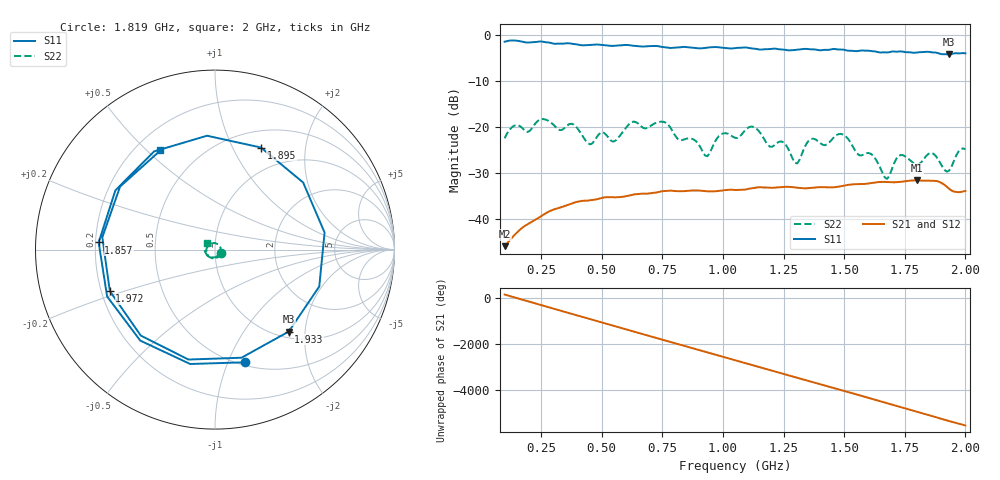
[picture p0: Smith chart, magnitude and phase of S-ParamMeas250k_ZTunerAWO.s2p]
!Keysight Technologies,N5242B,MY48420967,A.15.65.19
!Date: Monday, December 19, 2022 16:01:10
!Correction: S11(C  2-Port  )
!S21(C  2-Port  )
!S12(C  2-Port  )
!S22(C  2-Port  )
!S2P File: Measurements: S11, S21, S12, S22:
# Hz S  dB  R 50
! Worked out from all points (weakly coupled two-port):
!   201 points, 100 MHz to 2 GHz, reference 50 ohm
!   highest |S21| = -31.58 dB at 1.8 GHz (marker M1); lowest = -45.9 dB at 100 MHz (marker M2)
!   lowest |S11| = -4.2 dB at 1.933 GHz (marker M3), VSWR 4.18, Z = 56 - j82.2 ohm
!   |S11| at or under -10 dB: nowhere
!   |S22| runs from -31.3 to -18.3 dB; largest |S21 - S12| = 2.7e-05
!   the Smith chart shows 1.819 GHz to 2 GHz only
!   S11 on the Smith chart (normalised r, x): 1.819 GHz: 0.53, -1.15; 1.857 GHz: 0.21, +0.03; 1.895 GHz: 0.70, +1.30; 1.933 GHz: 1.12, -1.64; 1.972 GHz: 0.23, -0.18; 2 GHz: 0.30, +0.55
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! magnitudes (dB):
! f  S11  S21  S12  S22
! 100 MHz  -1.5  -45.9  -45.9  -22.5
! 252 MHz  -1.4  -39.3  -39.3  -18.3
! 423 MHz  -2.3  -36.0  -36.0  -22.1
! 546.5 MHz  -2.4  -35.3  -35.3  -23.2
! 622.5 MHz  -2.3  -34.8  -34.8  -19.0
! 736.5 MHz  -2.5  -34.1  -34.1  -18.9
! 936 MHz  -2.7  -34.0  -34.0  -26.4
! 993 MHz  -2.8  -33.8  -33.8  -21.6
! 1.05 GHz  -2.9  -33.7  -33.7  -22.4
! 1.126 GHz  -3.0  -33.3  -33.3  -20.0
! 1.306 GHz  -3.2  -33.2  -33.2  -27.9
! 1.373 GHz  -3.1  -33.2  -33.2  -22.5
! 1.496 GHz  -3.2  -32.8  -32.8  -21.7
! 1.687 GHz  -3.7  -32.0  -32.0  -30.6
! 1.734 GHz  -3.6  -31.9  -31.9  -26.1
! 1.8 GHz  -3.8  -31.6  -31.6  -28.2
! 1.819 GHz  -3.7  -31.7  -31.7  -27.6
! 1.857 GHz  -3.7  -31.7  -31.7  -25.7
! 1.895 GHz  -4.1  -32.0  -32.0  -27.7
! 1.933 GHz  -4.2  -33.5  -33.5  -29.5
! 1.972 GHz  -4.0  -34.2  -34.2  -25.3
! 2 GHz  -4.0  -33.9  -33.9  -24.8
